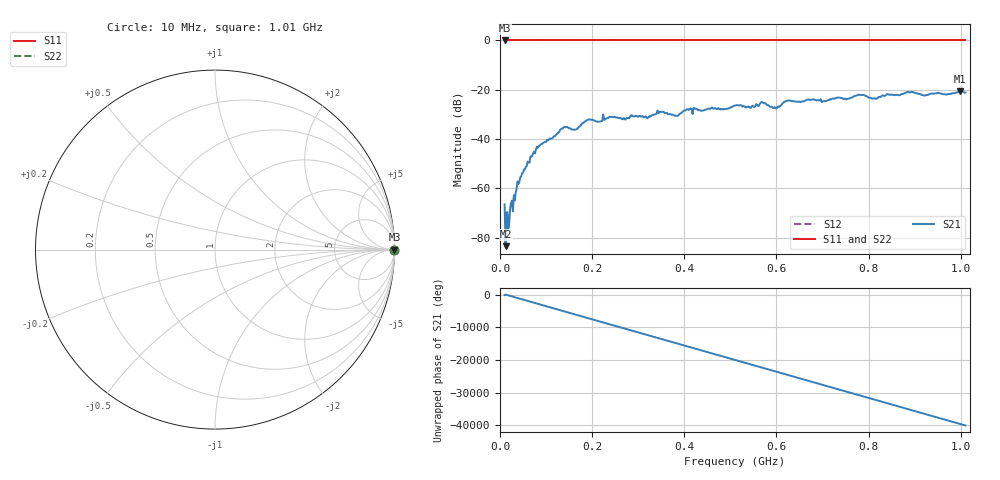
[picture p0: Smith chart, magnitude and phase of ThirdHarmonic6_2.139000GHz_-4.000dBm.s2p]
! 8/17/2025 1:33:01 AM
! C:\ANRITSUVNA\TEMP\TEMP.S2P
! CHANNEL.1
! TR.MEASUREMENT
! RAW.DATA
! RF.CORRECTION.OFF
! AVERAGING.OFF
! IF.BANDWIDTH: 5KHZ
! SWEEPTYPE:  FREQ.SWEEP(Linear)
! Reference Plane Port Info
! PORT:  PORT1  PORT2
! DISTANCE:  0  m  0  m
! TIME:  0  s  0  s
! PHASE.OFFSET:  0  deg.  0  deg.
! LOSS:  0  dB  0  dB
! REF.LOSS:  0  dB  0  dB
! REF.FREQ:  0  Hz  0  Hz
! Power Info
! POWER:  -20  dBm  -20  dBm
! EFF.POWER:  -20  dBm  -20  dBm
! SOURCE.ATTEN:  0  dB  0  dB
! TEST.ATTEN:  0  dB  0  dB
# GHZ S RI R 50.0
! FREQ.GHZ  S11RE  S11IM  S21RE  S21IM  S12RE  S12IM  S22RE  S22IM
!; PortSelection: Port_12
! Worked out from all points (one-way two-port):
!   501 points, 10 MHz to 1.01 GHz, reference 50 ohm
!   highest |S21| = -20.53 dB at 998 MHz (marker M1); lowest = -83.5 dB at 12 MHz (marker M2)
!   lowest |S11| = 0.0 dB at 10 MHz (marker M3)
!   |S11| at or under -10 dB: nowhere
!   |S22| runs from 0.0 to 0.0 dB; largest |S21 - S12| = 1.1
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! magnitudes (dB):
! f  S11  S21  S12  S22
! 10 MHz  0.0  -66.5  0.0  0.0
! 12 MHz  0.0  -83.5  0.0  0.0
! 16 MHz  0.0  -69.6  0.0  0.0
! 42 MHz  0.0  -57.4  0.0  0.0
! 82 MHz  0.0  -43.5  0.0  0.0
! 136 MHz  0.0  -35.7  0.0  0.0
! 162 MHz  0.0  -36.2  0.0  0.0
! 178 MHz  0.0  -33.6  0.0  0.0
! 240 MHz  0.0  -31.1  0.0  0.0
! 322 MHz  0.0  -31.1  0.0  0.0
! 344 MHz  0.0  -29.5  0.0  0.0
! 382 MHz  0.0  -30.5  0.0  0.0
! 410 MHz  0.0  -28.2  0.0  0.0
! 510 MHz  0.0  -26.4  0.0  0.0
! 570 MHz  0.0  -25.2  0.0  0.0
! 596 MHz  0.0  -27.1  0.0  0.0
! 622 MHz  0.0  -24.5  0.0  0.0
! 678 MHz  0.0  -23.9  0.0  0.0
! 814 MHz  0.0  -23.4  0.0  0.0
! 844 MHz  0.0  -22.0  0.0  0.0
! 998 MHz  0.0  -20.5  0.0  0.0
! 1.01 GHz  0.0  -21.2  0.0  0.0
